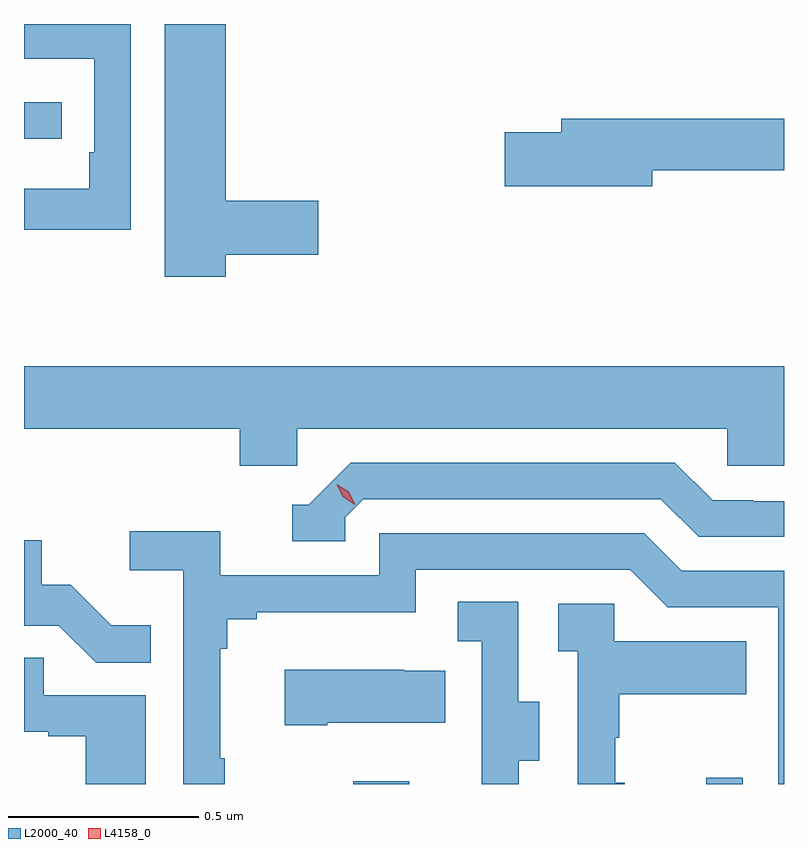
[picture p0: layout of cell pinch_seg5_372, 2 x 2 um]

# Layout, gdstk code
import gdstk
lib = gdstk.Library(unit=1e-6, precision=1e-09)
def R(c, l, rs):  # rectangles x0, y0, x1, y1
    for r in rs: c.add(gdstk.rectangle(r[:2], r[2:], *l))
def P(c, l, *ps):  # polygons
    for p in ps: c.add(gdstk.Polygon(p, *l))
L2000_40 = (2000, 40)
L4158_0 = (4158, 0)

pinch_seg5_372 = lib.new_cell('pinch_seg5_372')
R(pinch_seg5_372, L2000_40, [(996.994,891.789,997.141,891.796), (997.922,891.789,998.019,891.805), (996.127,893.487,996.226,893.583)])
P(pinch_seg5_372, L2000_40, [(996.408,893.789),(996.127,893.789),(996.127,893.697),(996.312,893.697),(996.312,893.452),(996.299,893.452),(996.299,893.356),(996.127,893.356),(996.127,893.247),(996.408,893.247)],
  [(996.658,893.182),(996.901,893.182),(996.901,893.324),(996.658,893.324),(996.658,893.789),(996.497,893.789),(996.497,893.124),(996.658,893.124)],
  [(997.78,893.404),(998.127,893.404),(998.127,893.54),(997.541,893.54),(997.541,893.504),(997.392,893.504),(997.392,893.362),(997.78,893.362)],
  [(996.846,892.724),(997.977,892.724),(997.977,892.626),(998.127,892.626),(998.127,892.888),(996.127,892.888),(996.127,892.724),(996.695,892.724),(996.695,892.626),(996.846,892.626)],
  [(996.972,892.491),(997.02,892.539),(997.803,892.539),(997.902,892.44),(998.127,892.44),(998.127,892.533),(998.046,892.533),(998.046,892.536),(997.939,892.536),(997.84,892.635),(996.987,892.635),(996.876,892.524),(996.833,892.524),(996.833,892.428),(996.972,892.428)],
  [(996.655,891.857),(996.643,891.857),(996.643,892.145),(996.662,892.145),(996.662,892.222),(996.739,892.222),(996.739,892.241),(997.158,892.241),(997.158,892.353),(997.722,892.353),(997.821,892.254),(998.112,892.254),(998.112,891.789),(998.127,891.789),(998.127,892.35),(997.858,892.35),(997.759,892.449),(997.062,892.449),(997.062,892.338),(996.644,892.338),(996.644,892.454),(996.405,892.454),(996.405,892.352),(996.546,892.352),(996.546,891.789),(996.655,891.789)],
  [(996.461,892.207),(996.357,892.207),(996.25,892.314),(996.174,892.314),(996.174,892.431),(996.127,892.431),(996.127,892.206),(996.219,892.206),(996.317,892.108),(996.461,892.108)],
  [(997.429,891.85),(997.483,891.85),(997.483,892.005),(997.428,892.005),(997.428,892.268),(997.269,892.268),(997.269,892.165),(997.332,892.165),(997.332,891.861),(997.331,891.861),(997.331,891.789),(997.429,891.789)],
  [(997.708,891.792),(997.683,891.792),(997.683,891.911),(997.693,891.911),(997.693,892.025),(998.027,892.025),(998.027,892.165),(997.68,892.165),(997.68,892.263),(997.533,892.263),(997.533,892.139),(997.584,892.139),(997.584,891.789),(997.708,891.789)],
  [(996.448,892.023),(996.179,892.023),(996.179,892.121),(996.127,892.121),(996.127,891.927),(996.191,891.927),(996.191,891.915),(996.29,891.915),(996.29,891.789),(996.448,891.789)],
  [(996.925,891.95),(997.235,891.95),(997.235,892.087),(997.127,892.087),(997.127,892.09),(996.813,892.09),(996.813,891.943),(996.925,891.943)])
P(pinch_seg5_372, L4158_0, [(996.996,892.525),(996.966,892.545),(996.95,892.578),(996.95,892.578),(996.95,892.578),(996.981,892.558),(996.997,892.526),(996.997,892.525)])

lib.write_gds('pinch_seg5_372.gds')
